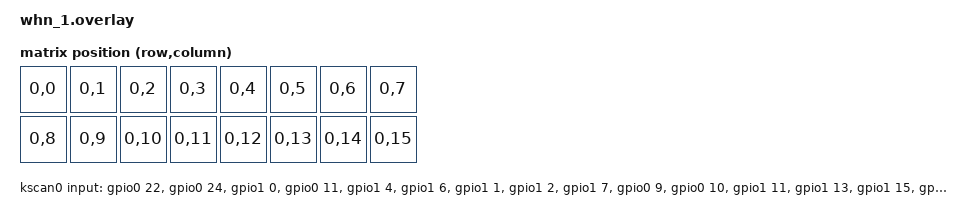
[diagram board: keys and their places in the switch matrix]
#include <dt-bindings/zmk/matrix_transform.h>

/ {
    kscan0: kscan0 {
        compatible = "zmk,kscan-gpio-direct";
        wakeup-source;
        input-gpios
            = <&gpio0 22 (GPIO_ACTIVE_LOW | GPIO_PULL_UP)>  // F7
            , <&gpio0 24 (GPIO_ACTIVE_LOW | GPIO_PULL_UP)>  // F3
            , <&gpio1 0 (GPIO_ACTIVE_LOW | GPIO_PULL_UP)>   // F1
            , <&gpio0 11 (GPIO_ACTIVE_LOW | GPIO_PULL_UP)>  // D
            , <&gpio1 4 (GPIO_ACTIVE_LOW | GPIO_PULL_UP)>   // S
            , <&gpio1 6 (GPIO_ACTIVE_LOW | GPIO_PULL_UP)>   // W
            , <&gpio1 1 (GPIO_ACTIVE_LOW | GPIO_PULL_UP)>   // A
            , <&gpio1 2 (GPIO_ACTIVE_LOW | GPIO_PULL_UP)>   // 功能键1 (模式切换)
            , <&gpio1 7 (GPIO_ACTIVE_LOW | GPIO_PULL_UP)>   // 功能键2 (玩家切换)
            , <&gpio0 9 (GPIO_ACTIVE_LOW | GPIO_PULL_UP)>   // I
            , <&gpio0 10 (GPIO_ACTIVE_LOW | GPIO_PULL_UP)>  // O
            , <&gpio1 11 (GPIO_ACTIVE_LOW | GPIO_PULL_UP)>  // P
            , <&gpio1 13 (GPIO_ACTIVE_LOW | GPIO_PULL_UP)>  // H
            , <&gpio1 15 (GPIO_ACTIVE_LOW | GPIO_PULL_UP)>  // J
            , <&gpio0 2 (GPIO_ACTIVE_LOW | GPIO_PULL_UP)>   // K
            , <&gpio0 29 (GPIO_ACTIVE_LOW | GPIO_PULL_UP)>  // L
            ;
    };

    default_transform: keymap_transform0 {
        compatible = "zmk,matrix-transform";
        columns = <16>;
        rows = <1>;
        map = <
            RC(0,0)  RC(0,1)  RC(0,2)  RC(0,3)  RC(0,4)  RC(0,5)  RC(0,6)  RC(0,7)
            RC(0,8)  RC(0,9)  RC(0,10) RC(0,11) RC(0,12) RC(0,13) RC(0,14) RC(0,15)
        >;
    };

    physical_layout0: physical_layout_0 {
        compatible = "zmk,physical-layout";
        display-name = "WHN 1 Layout";
        kscan = <&kscan0>;
        transform = <&default_transform>;
    };

    chosen {
        zmk,physical-layout = &physical_layout0;
        zmk,kscan = &kscan0;
        zephyr,display = &display0;
    };
};

&i2c0 {
    status = "okay";
    clock-frequency = <400000>;

    display0: display@3c {
        compatible = "solomon,ssd1306fb-i2c";
        reg = <0x3c>;
        width = <128>;
        height = <64>;
        segment-offset = <0>;
        page-offset = <0>;
        display-offset = <0>;
        multiplex-ratio = <63>;
        prechargep = <0x22>;
    };
};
